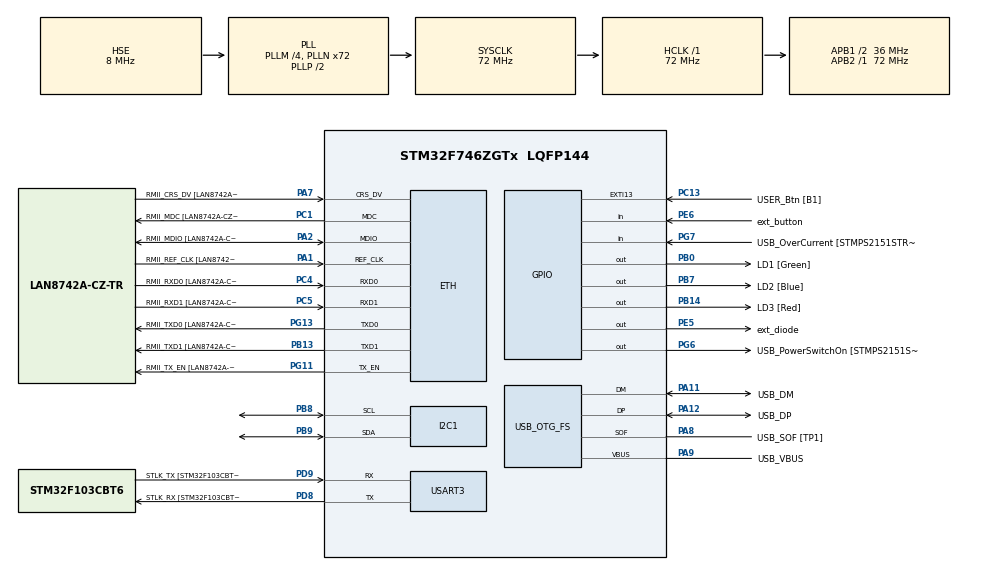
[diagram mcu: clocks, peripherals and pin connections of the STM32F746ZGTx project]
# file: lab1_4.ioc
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ETH.MediaInterface=HAL_ETH_RMII_MODE
ETH.PHY_Name=LAN8742A_PHY_ADDRESS
ETH.PHY_Value=0
ETH.PhyAddress=0
I2C1.Timing=0x00808CD2
Mcu.Family=STM32F7
Mcu.Name=STM32F746ZGTx
Mcu.Package=LQFP144
NVIC.PriorityGroup=NVIC_PRIORITYGROUP_4
PA1.GPIO_Label=RMII_REF_CLK [LAN8742A-CZ-TR_REFCLK0]
PA1.Mode=RMII
PA1.Signal=ETH_REF_CLK
PA10.GPIO_Label=USB_ID
PA10.Signal=USB_OTG_FS_ID
PA11.GPIO_Label=USB_DM
PA11.Mode=Device_Only
PA11.Signal=USB_OTG_FS_DM
PA12.GPIO_Label=USB_DP
PA12.Mode=Device_Only
PA12.Signal=USB_OTG_FS_DP
PA13.GPIO_Label=TMS
PA13.Mode=Serial_Wire
PA13.Signal=SYS_JTMS-SWDIO
PA14.GPIO_Label=TCK
PA14.Mode=Serial_Wire
PA14.Signal=SYS_JTCK-SWCLK
PA2.GPIO_Label=RMII_MDIO [LAN8742A-CZ-TR_MDIO]
PA2.Mode=RMII
PA2.Signal=ETH_MDIO
PA7.GPIO_Label=RMII_CRS_DV [LAN8742A-CZ-TR_CRS_DV]
PA7.Mode=RMII
PA7.Signal=ETH_CRS_DV
PA8.GPIO_Label=USB_SOF [TP1]
PA8.Mode=Activate_SOF_FS
PA8.Signal=USB_OTG_FS_SOF
PA9.GPIO_Label=USB_VBUS
PA9.Mode=Activate_VBUS
PA9.Signal=USB_OTG_FS_VBUS
PB0.GPIO_Label=LD1 [Green]
PB0.Signal=GPIO_Output
PB13.GPIO_Label=RMII_TXD1 [LAN8742A-CZ-TR_TXD1]
PB13.Mode=RMII
PB13.Signal=ETH_TXD1
PB14.GPIO_Label=LD3 [Red]
PB14.Signal=GPIO_Output
PB3.GPIO_Label=SW0
PB3.Signal=SYS_JTDO-SWO
PB7.GPIO_Label=LD2 [Blue]
PB7.Signal=GPIO_Output
PB8.Mode=I2C
PB8.Signal=I2C1_SCL
PB9.Mode=I2C
PB9.Signal=I2C1_SDA
PC1.GPIO_Label=RMII_MDC [LAN8742A-CZ-TR_MDC]
PC1.Mode=RMII
PC1.Signal=ETH_MDC
PC13.GPIO_Label=USER_Btn [B1]
PC13.Signal=GPXTI13
PC14/OSC32_IN.Mode=LSE-External-Oscillator
PC14/OSC32_IN.Signal=RCC_OSC32_IN
PC15/OSC32_OUT.Mode=LSE-External-Oscillator
PC15/OSC32_OUT.Signal=RCC_OSC32_OUT
PC4.GPIO_Label=RMII_RXD0 [LAN8742A-CZ-TR_RXD0]
PC4.Mode=RMII
PC4.Signal=ETH_RXD0
PC5.GPIO_Label=RMII_RXD1 [LAN8742A-CZ-TR_RXD1]
PC5.Mode=RMII
PC5.Signal=ETH_RXD1
PD8.GPIO_Label=STLK_RX [STM32F103CBT6_PA3]
PD8.GPIO_PuPd=GPIO_PULLUP
PD8.Mode=Asynchronous
PD8.Signal=USART3_TX
PD9.GPIO_Label=STLK_TX [STM32F103CBT6_PA2]
PD9.GPIO_PuPd=GPIO_PULLUP
PD9.Mode=Asynchronous
PD9.Signal=USART3_RX
PE5.GPIO_Label=ext_diode
PE5.PinState=GPIO_PIN_RESET
PE5.Signal=GPIO_Output
PE6.GPIO_Label=ext_button
PE6.Signal=GPIO_Input
PG11.GPIO_Label=RMII_TX_EN [LAN8742A-CZ-TR_TXEN]
PG11.Mode=RMII
PG11.Signal=ETH_TX_EN
PG13.GPIO_Label=RMII_TXD0 [LAN8742A-CZ-TR_TXD0]
PG13.Mode=RMII
PG13.Signal=ETH_TXD0
PG6.GPIO_Label=USB_PowerSwitchOn [STMPS2151STR_EN]
PG6.Signal=GPIO_Output
PG7.GPIO_Label=USB_OverCurrent [STMPS2151STR_FAULT]
PG7.Signal=GPIO_Input
PH0/OSC_IN.GPIO_Label=MCO [STM32F103CBT6_PA8]
PH0/OSC_IN.Mode=HSE-External-Clock-Source
PH0/OSC_IN.Signal=RCC_OSC_IN
PH1/OSC_OUT.Mode=HSE-External-Clock-Source
PH1/OSC_OUT.Signal=RCC_OSC_OUT
ProjectManager.HeapSize=0x200
ProjectManager.StackSize=0x400
ProjectManager.TargetToolchain=STM32CubeIDE
RCC.48MHZClocksFreq_Value=24000000
RCC.AHBFreq_Value=72000000
RCC.APB1CLKDivider=RCC_HCLK_DIV2
RCC.APB1Freq_Value=36000000
RCC.APB1TimFreq_Value=72000000
RCC.APB2Freq_Value=72000000
RCC.APB2TimFreq_Value=72000000
RCC.CortexFreq_Value=72000000
RCC.HCLKFreq_Value=72000000
RCC.HSE_VALUE=8000000
RCC.HSI_VALUE=16000000
RCC.PLLM=4
RCC.PLLMUL=RCC_PLL_MUL9
RCC.PLLN=72
RCC.PLLQ=3
RCC.PRESCALERUSB=RCC_USBCLKSOURCE_PLL_DIV1_5
RCC.SYSCLKFreq_VALUE=72000000
RCC.SYSCLKSource=RCC_SYSCLKSOURCE_PLLCLK
RCC.SYSCLKSourceVirtual=RCC_SYSCLKSOURCE_PLLCLK
RCC.USBFreq_Value=48000000
RCC.VCOOutputFreq_Value=144000000
USART3.VirtualMode-Asynchronous=VM_ASYNC
USB_OTG_FS.VirtualMode=Device_Only
board=NUCLEO-F746ZG

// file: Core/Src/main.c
/* USER CODE BEGIN Header */
/**
  ******************************************************************************
  * @file           : main.c
  * @brief          : Main program body
  ******************************************************************************
  * @attention
  *
  * Copyright (c) 2025 STMicroelectronics.
  * All rights reserved.
  *
  * This software is licensed under terms that can be found in the LICENSE file
  * in the root directory of this software component.
  * If no LICENSE file comes with this software, it is provided AS-IS.
  *
  ******************************************************************************
  */
/* USER CODE END Header */
#include "main.h"
#include "string.h"

/* USER CODE BEGIN Includes */
#include "stdbool.h"
/* USER CODE END Includes */

#if defined ( __ICCARM__ ) /*!< IAR Compiler */
#pragma location=0x2004c000
ETH_DMADescTypeDef  DMARxDscrTab[ETH_RX_DESC_CNT]; /* Ethernet Rx DMA Descriptors */
#pragma location=0x2004c0a0
ETH_DMADescTypeDef  DMATxDscrTab[ETH_TX_DESC_CNT]; /* Ethernet Tx DMA Descriptors */

#elif defined ( __CC_ARM )  /* MDK ARM Compiler */

__attribute__((at(0x2004c000))) ETH_DMADescTypeDef  DMARxDscrTab[ETH_RX_DESC_CNT]; /* Ethernet Rx DMA Descriptors */
__attribute__((at(0x2004c0a0))) ETH_DMADescTypeDef  DMATxDscrTab[ETH_TX_DESC_CNT]; /* Ethernet Tx DMA Descriptors */

#elif defined ( __GNUC__ ) /* GNU Compiler */

ETH_DMADescTypeDef DMARxDscrTab[ETH_RX_DESC_CNT] __attribute__((section(".RxDecripSection"))); /* Ethernet Rx DMA Descriptors */
ETH_DMADescTypeDef DMATxDscrTab[ETH_TX_DESC_CNT] __attribute__((section(".TxDecripSection")));   /* Ethernet Tx DMA Descriptors */
#endif

ETH_TxPacketConfig TxConfig;

ETH_HandleTypeDef heth;

I2C_HandleTypeDef hi2c1;

UART_HandleTypeDef huart3;

PCD_HandleTypeDef hpcd_USB_OTG_FS;

void SystemClock_Config(void);
static void MX_GPIO_Init(void);
static void MX_ETH_Init(void);
static void MX_I2C1_Init(void);
static void MX_USART3_UART_Init(void);
static void MX_USB_OTG_FS_PCD_Init(void);

int main(void)
{

  /* MCU Configuration--------------------------------------------------------*/

  /* Reset of all peripherals, Initializes the Flash interface and the Systick. */
  HAL_Init();

  /* Configure the system clock */
  SystemClock_Config();

  /* Initialize all configured peripherals */
  MX_GPIO_Init();
  MX_ETH_Init();
  MX_I2C1_Init();
  MX_USART3_UART_Init();
  MX_USB_OTG_FS_PCD_Init();
  /* USER CODE BEGIN 2 */

  typedef struct{
  	 GPIO_TypeDef* port;
  	 uint16_t pin;
    }pin_t;

    typedef struct{
  	  pin_t gpio;
  	  uint8_t prev_state;
  	  uint8_t pressed;
    }Button;

    Button user_button = {{ext_button_GPIO_Port, ext_button_Pin}, 0, 0}; // Changed
    pin_t LED1 = {ext_diode_GPIO_Port, ext_diode_Pin}; // Changed

    bool key_pooling(Button* btn)
      {
          uint8_t curr_state = HAL_GPIO_ReadPin(btn->gpio.port, btn->gpio.pin);

          if (btn->prev_state == 0 && curr_state == 1)
          {
              btn->pressed = 1;
              btn->prev_state = curr_state;
              return true;
          }

          btn->prev_state = curr_state;
          btn->pressed = 0;
          return false;
      }

  /* USER CODE END 2 */

  /* Infinite loop */
  /* USER CODE BEGIN WHILE */
  while (1)
  {
	  if(key_pooling(&user_button))
	  	{
	  		HAL_GPIO_TogglePin(LED1.port, LED1.pin);
	  	}
	  HAL_Delay(0);
    /* USER CODE END WHILE */

  }
}

void SystemClock_Config(void)
{
  RCC_OscInitTypeDef RCC_OscInitStruct = {0};
  RCC_ClkInitTypeDef RCC_ClkInitStruct = {0};

  /** Configure LSE Drive Capability
  */
  HAL_PWR_EnableBkUpAccess();

  /** Configure the main internal regulator output voltage
  */
  __HAL_RCC_PWR_CLK_ENABLE();
  __HAL_PWR_VOLTAGESCALING_CONFIG(PWR_REGULATOR_VOLTAGE_SCALE3);

  /** Initializes the RCC Oscillators according to the specified parameters
  * in the RCC_OscInitTypeDef structure.
  */
  RCC_OscInitStruct.OscillatorType = RCC_OSCILLATORTYPE_HSE;
  RCC_OscInitStruct.HSEState = RCC_HSE_BYPASS;
  RCC_OscInitStruct.PLL.PLLState = RCC_PLL_ON;
  RCC_OscInitStruct.PLL.PLLSource = RCC_PLLSOURCE_HSE;
  RCC_OscInitStruct.PLL.PLLM = 4;
  RCC_OscInitStruct.PLL.PLLN = 72;
  RCC_OscInitStruct.PLL.PLLP = RCC_PLLP_DIV2;
  RCC_OscInitStruct.PLL.PLLQ = 3;
  if (HAL_RCC_OscConfig(&RCC_OscInitStruct) != HAL_OK)
  {
    Error_Handler();
  }

  /** Initializes the CPU, AHB and APB buses clocks
  */
  RCC_ClkInitStruct.ClockType = RCC_CLOCKTYPE_HCLK|RCC_CLOCKTYPE_SYSCLK
                              |RCC_CLOCKTYPE_PCLK1|RCC_CLOCKTYPE_PCLK2;
  RCC_ClkInitStruct.SYSCLKSource = RCC_SYSCLKSOURCE_PLLCLK;
  RCC_ClkInitStruct.AHBCLKDivider = RCC_SYSCLK_DIV1;
  RCC_ClkInitStruct.APB1CLKDivider = RCC_HCLK_DIV2;
  RCC_ClkInitStruct.APB2CLKDivider = RCC_HCLK_DIV1;

  if (HAL_RCC_ClockConfig(&RCC_ClkInitStruct, FLASH_LATENCY_2) != HAL_OK)
  {
    Error_Handler();
  }
}

static void MX_ETH_Init(void)
{

   static uint8_t MACAddr[6];

  heth.Instance = ETH;
  MACAddr[0] = 0x00;
  MACAddr[1] = 0x80;
  MACAddr[2] = 0xE1;
  MACAddr[3] = 0x00;
  MACAddr[4] = 0x00;
  MACAddr[5] = 0x00;
  heth.Init.MACAddr = &MACAddr[0];
  heth.Init.MediaInterface = HAL_ETH_RMII_MODE;
  heth.Init.TxDesc = DMATxDscrTab;
  heth.Init.RxDesc = DMARxDscrTab;
  heth.Init.RxBuffLen = 1524;

  if (HAL_ETH_Init(&heth) != HAL_OK)
  {
    Error_Handler();
  }

  memset(&TxConfig, 0 , sizeof(ETH_TxPacketConfig));
  TxConfig.Attributes = ETH_TX_PACKETS_FEATURES_CSUM | ETH_TX_PACKETS_FEATURES_CRCPAD;
  TxConfig.ChecksumCtrl = ETH_CHECKSUM_IPHDR_PAYLOAD_INSERT_PHDR_CALC;
  TxConfig.CRCPadCtrl = ETH_CRC_PAD_INSERT;

}

static void MX_I2C1_Init(void)
{

  hi2c1.Instance = I2C1;
  hi2c1.Init.Timing = 0x00808CD2;
  hi2c1.Init.OwnAddress1 = 0;
  hi2c1.Init.AddressingMode = I2C_ADDRESSINGMODE_7BIT;
  hi2c1.Init.DualAddressMode = I2C_DUALADDRESS_DISABLE;
  hi2c1.Init.OwnAddress2 = 0;
  hi2c1.Init.OwnAddress2Masks = I2C_OA2_NOMASK;
  hi2c1.Init.GeneralCallMode = I2C_GENERALCALL_DISABLE;
  hi2c1.Init.NoStretchMode = I2C_NOSTRETCH_DISABLE;
  if (HAL_I2C_Init(&hi2c1) != HAL_OK)
  {
    Error_Handler();
  }

  /** Configure Analogue filter
  */
  if (HAL_I2CEx_ConfigAnalogFilter(&hi2c1, I2C_ANALOGFILTER_ENABLE) != HAL_OK)
  {
    Error_Handler();
  }

  /** Configure Digital filter
  */
  if (HAL_I2CEx_ConfigDigitalFilter(&hi2c1, 0) != HAL_OK)
  {
    Error_Handler();
  }

}

static void MX_USART3_UART_Init(void)
{

  huart3.Instance = USART3;
  huart3.Init.BaudRate = 115200;
  huart3.Init.WordLength = UART_WORDLENGTH_8B;
  huart3.Init.StopBits = UART_STOPBITS_1;
  huart3.Init.Parity = UART_PARITY_NONE;
  huart3.Init.Mode = UART_MODE_TX_RX;
  huart3.Init.HwFlowCtl = UART_HWCONTROL_NONE;
  huart3.Init.OverSampling = UART_OVERSAMPLING_16;
  huart3.Init.OneBitSampling = UART_ONE_BIT_SAMPLE_DISABLE;
  huart3.AdvancedInit.AdvFeatureInit = UART_ADVFEATURE_NO_INIT;
  if (HAL_UART_Init(&huart3) != HAL_OK)
  {
    Error_Handler();
  }

}

static void MX_USB_OTG_FS_PCD_Init(void)
{

  hpcd_USB_OTG_FS.Instance = USB_OTG_FS;
  hpcd_USB_OTG_FS.Init.dev_endpoints = 6;
  hpcd_USB_OTG_FS.Init.speed = PCD_SPEED_FULL;
  hpcd_USB_OTG_FS.Init.dma_enable = DISABLE;
  hpcd_USB_OTG_FS.Init.phy_itface = PCD_PHY_EMBEDDED;
  hpcd_USB_OTG_FS.Init.Sof_enable = ENABLE;
  hpcd_USB_OTG_FS.Init.low_power_enable = DISABLE;
  hpcd_USB_OTG_FS.Init.lpm_enable = DISABLE;
  hpcd_USB_OTG_FS.Init.vbus_sensing_enable = ENABLE;
  hpcd_USB_OTG_FS.Init.use_dedicated_ep1 = DISABLE;
  if (HAL_PCD_Init(&hpcd_USB_OTG_FS) != HAL_OK)
  {
    Error_Handler();
  }

}

static void MX_GPIO_Init(void)
{
  GPIO_InitTypeDef GPIO_InitStruct = {0};

  /* GPIO Ports Clock Enable */
  __HAL_RCC_GPIOE_CLK_ENABLE();
  __HAL_RCC_GPIOC_CLK_ENABLE();
  __HAL_RCC_GPIOH_CLK_ENABLE();
  __HAL_RCC_GPIOA_CLK_ENABLE();
  __HAL_RCC_GPIOB_CLK_ENABLE();
  __HAL_RCC_GPIOD_CLK_ENABLE();
  __HAL_RCC_GPIOG_CLK_ENABLE();

  /*Configure GPIO pin Output Level */
  HAL_GPIO_WritePin(ext_diode_GPIO_Port, ext_diode_Pin, GPIO_PIN_RESET);

  /*Configure GPIO pin Output Level */
  HAL_GPIO_WritePin(GPIOB, LD1_Pin|LD3_Pin|LD2_Pin, GPIO_PIN_RESET);

  /*Configure GPIO pin Output Level */
  HAL_GPIO_WritePin(USB_PowerSwitchOn_GPIO_Port, USB_PowerSwitchOn_Pin, GPIO_PIN_RESET);

  /*Configure GPIO pin : ext_diode_Pin */
  GPIO_InitStruct.Pin = ext_diode_Pin;
  GPIO_InitStruct.Mode = GPIO_MODE_OUTPUT_PP;
  GPIO_InitStruct.Pull = GPIO_NOPULL;
  GPIO_InitStruct.Speed = GPIO_SPEED_FREQ_LOW;
  HAL_GPIO_Init(ext_diode_GPIO_Port, &GPIO_InitStruct);

  /*Configure GPIO pin : ext_button_Pin */
  GPIO_InitStruct.Pin = ext_button_Pin;
  GPIO_InitStruct.Mode = GPIO_MODE_INPUT;
  GPIO_InitStruct.Pull = GPIO_NOPULL;
  HAL_GPIO_Init(ext_button_GPIO_Port, &GPIO_InitStruct);

  /*Configure GPIO pin : USER_Btn_Pin */
  GPIO_InitStruct.Pin = USER_Btn_Pin;
  GPIO_InitStruct.Mode = GPIO_MODE_IT_RISING;
  GPIO_InitStruct.Pull = GPIO_NOPULL;
  HAL_GPIO_Init(USER_Btn_GPIO_Port, &GPIO_InitStruct);

  /*Configure GPIO pins : LD1_Pin LD3_Pin LD2_Pin */
  GPIO_InitStruct.Pin = LD1_Pin|LD3_Pin|LD2_Pin;
  GPIO_InitStruct.Mode = GPIO_MODE_OUTPUT_PP;
  GPIO_InitStruct.Pull = GPIO_NOPULL;
  GPIO_InitStruct.Speed = GPIO_SPEED_FREQ_LOW;
  HAL_GPIO_Init(GPIOB, &GPIO_InitStruct);

  /*Configure GPIO pin : USB_PowerSwitchOn_Pin */
  GPIO_InitStruct.Pin = USB_PowerSwitchOn_Pin;
  GPIO_InitStruct.Mode = GPIO_MODE_OUTPUT_PP;
  GPIO_InitStruct.Pull = GPIO_NOPULL;
  GPIO_InitStruct.Speed = GPIO_SPEED_FREQ_LOW;
  HAL_GPIO_Init(USB_PowerSwitchOn_GPIO_Port, &GPIO_InitStruct);

  /*Configure GPIO pin : USB_OverCurrent_Pin */
  GPIO_InitStruct.Pin = USB_OverCurrent_Pin;
  GPIO_InitStruct.Mode = GPIO_MODE_INPUT;
  GPIO_InitStruct.Pull = GPIO_NOPULL;
  HAL_GPIO_Init(USB_OverCurrent_GPIO_Port, &GPIO_InitStruct);

}

void Error_Handler(void)
{
  __disable_irq();
  while (1)
  {
  }
}
